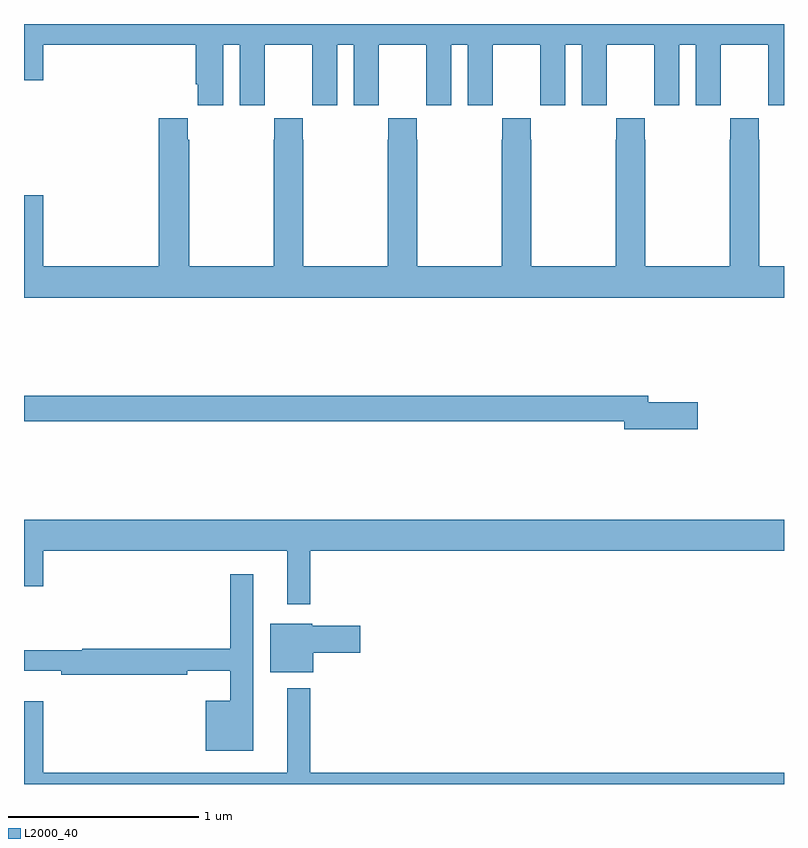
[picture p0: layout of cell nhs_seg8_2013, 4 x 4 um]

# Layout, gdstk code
import gdstk
lib = gdstk.Library(unit=1e-6, precision=1e-09)
def P(c, l, *ps):  # polygons
    for p in ps: c.add(gdstk.Polygon(p, *l))
L2000_40 = (2000, 40)

nhs_seg8_2013 = lib.new_cell('nhs_seg8_2013')
P(nhs_seg8_2013, L2000_40, [(238.048,1157.792),(238.136,1157.792),(238.136,1157.472),(238.266,1157.472),(238.266,1157.584),(238.267,1157.584),(238.267,1157.792),(238.517,1157.792),(238.517,1157.584),(238.518,1157.584),(238.518,1157.472),(238.648,1157.472),(238.648,1157.792),(238.736,1157.792),(238.736,1157.472),(238.866,1157.472),(238.866,1157.584),(238.867,1157.584),(238.867,1157.792),(239.117,1157.792),(239.117,1157.584),(239.118,1157.584),(239.118,1157.472),(239.248,1157.472),(239.248,1157.792),(239.336,1157.792),(239.336,1157.472),(239.466,1157.472),(239.466,1157.584),(239.467,1157.584),(239.467,1157.792),(239.717,1157.792),(239.717,1157.584),(239.718,1157.584),(239.718,1157.472),(239.848,1157.472),(239.848,1157.792),(239.936,1157.792),(239.936,1157.472),(240.066,1157.472),(240.066,1157.584),(240.067,1157.584),(240.067,1157.792),(240.317,1157.792),(240.317,1157.584),(240.318,1157.584),(240.318,1157.472),(240.448,1157.472),(240.448,1157.792),(240.536,1157.792),(240.536,1157.472),(240.666,1157.472),(240.666,1157.584),(240.667,1157.584),(240.667,1157.792),(240.917,1157.792),(240.917,1157.584),(240.918,1157.584),(240.918,1157.472),(241,1157.472),(241,1157.9),(237,1157.9),(237,1157.604),(237.1,1157.604),(237.1,1157.792),(237.905,1157.792),(237.905,1157.584),(237.914,1157.584),(237.914,1157.472),(238.048,1157.472)],
  [(237.863,1157.291),(237.863,1157.404),(237.71,1157.404),(237.71,1156.624),(237.1,1156.624),(237.1,1156.999),(237,1156.999),(237,1156.46),(241,1156.46),(241,1156.624),(240.87,1156.624),(240.87,1157.291),(240.867,1157.291),(240.867,1157.404),(240.717,1157.404),(240.717,1157.291),(240.715,1157.291),(240.715,1156.624),(240.27,1156.624),(240.27,1157.291),(240.267,1157.291),(240.267,1157.404),(240.117,1157.404),(240.117,1157.291),(240.115,1157.291),(240.115,1156.624),(239.67,1156.624),(239.67,1157.291),(239.667,1157.291),(239.667,1157.404),(239.517,1157.404),(239.517,1157.291),(239.515,1157.291),(239.515,1156.624),(239.07,1156.624),(239.07,1157.291),(239.067,1157.291),(239.067,1157.404),(238.917,1157.404),(238.917,1157.291),(238.915,1157.291),(238.915,1156.624),(238.47,1156.624),(238.47,1157.291),(238.467,1157.291),(238.467,1157.404),(238.317,1157.404),(238.317,1157.291),(238.315,1157.291),(238.315,1156.624),(237.87,1156.624),(237.87,1157.291)],
  [(240.547,1155.908),(240.286,1155.908),(240.286,1155.944),(237,1155.944),(237,1155.808),(240.158,1155.808),(240.158,1155.766),(240.547,1155.766)],
  [(238.507,1155.128),(241,1155.128),(241,1155.292),(237,1155.292),(237,1154.94),(237.1,1154.94),(237.1,1155.128),(238.385,1155.128),(238.385,1154.847),(238.507,1154.847)],
  [(238.207,1155.004),(238.086,1155.004),(238.086,1154.612),(237.307,1154.612),(237.307,1154.605),(237,1154.605),(237,1154.495),(237.196,1154.495),(237.196,1154.476),(237.86,1154.476),(237.86,1154.495),(238.086,1154.495),(238.086,1154.338),(237.956,1154.338),(237.956,1154.075),(238.207,1154.075)],
  [(238.522,1154.591),(238.771,1154.591),(238.771,1154.733),(238.518,1154.733),(238.518,1154.743),(238.295,1154.743),(238.295,1154.489),(238.522,1154.489)],
  [(241,1153.96),(238.507,1153.96),(238.507,1154.404),(238.385,1154.404),(238.385,1153.96),(237.1,1153.96),(237.1,1154.335),(237,1154.335),(237,1153.9),(241,1153.9)])

lib.write_gds('nhs_seg8_2013.gds')
